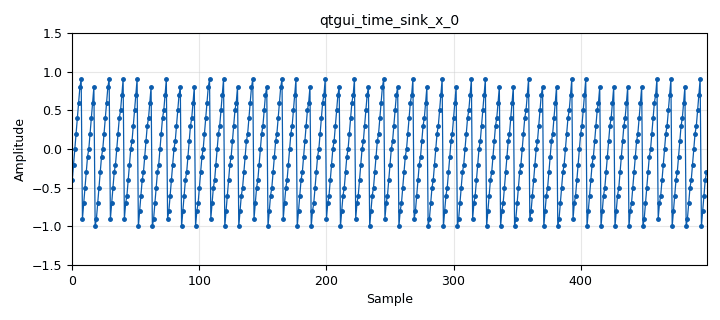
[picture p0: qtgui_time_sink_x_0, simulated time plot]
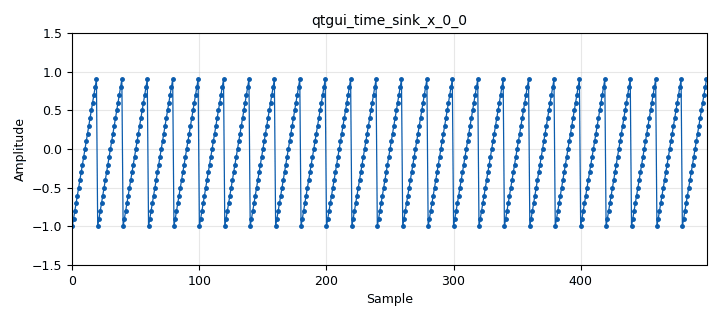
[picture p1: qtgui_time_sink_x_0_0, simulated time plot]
options:
  parameters:
    category: Custom
    description: Adapted from GNU Radio's own example (gr-blocks/examples/tags/test_tag_prop.grc).
    generate_options: qt_gui
    id: test_tag_prop
    output_language: python
    title: Tag Propagation Demo
  states: {}

blocks:
- name: samp_rate
  id: variable
  parameters:
    value: '8000'
  states: {}
- name: tag0
  id: variable_tag_object
  parameters:
    key: pmt.intern("mark")
    offset: '0'
    src: pmt.intern("src")
    value: pmt.PMT_T
  states: {}
- name: blocks_test_tag_variable_rate_ff_0
  id: blocks_test_tag_variable_rate_ff
  parameters:
    once: 'False'
    step: '0.001'
  states: {}
- name: blocks_throttle2_0
  id: blocks_throttle2
  parameters:
    samples_per_second: samp_rate
    type: float
  states: {}
- name: blocks_vector_source_x_0_0
  id: blocks_vector_source_x
  parameters:
    repeat: 'True'
    tags: '[tag0, ]'
    type: float
    vector: numpy.arange(-1, 1, 0.01)
  states: {state: disabled}
- name: blocks_vector_source_x_0_0_0
  id: blocks_vector_source_x
  parameters:
    repeat: 'True'
    tags: '[tag0, ]'
    type: float
    vector: numpy.arange(-1, 1, 0.1)
  states: {}
- name: qtgui_time_sink_x_0
  id: qtgui_time_sink_x
  parameters:
    gui_hint: 0,0,1,1
    label1: ''
    legend: 'False'
    marker1: '0'
    size: '500'
    type: float
    ymax: '1.5'
    ymin: '-1.5'
    samp_rate: '1'
  states: {}
- name: qtgui_time_sink_x_0_0
  id: qtgui_time_sink_x
  parameters:
    gui_hint: 1,0,1,1
    label1: ''
    legend: 'False'
    marker1: '0'
    size: '500'
    type: float
    ymax: '1.5'
    ymin: '-1.5'
    samp_rate: '1'
  states: {}

connections:
- [blocks_test_tag_variable_rate_ff_0, '0', qtgui_time_sink_x_0, '0']
- [blocks_throttle2_0, '0', blocks_test_tag_variable_rate_ff_0, '0']
- [blocks_throttle2_0, '0', qtgui_time_sink_x_0_0, '0']
- [blocks_vector_source_x_0_0, '0', blocks_throttle2_0, '0']
- [blocks_vector_source_x_0_0_0, '0', blocks_throttle2_0, '0']

metadata:
  file_format: 1
  grc_version: 3.10.10.0
